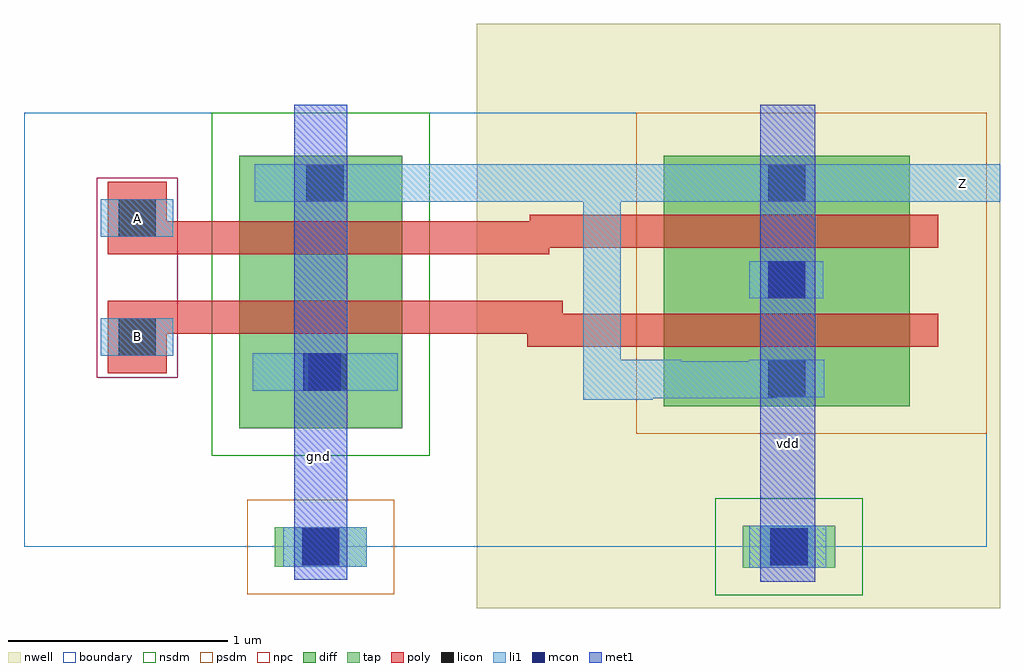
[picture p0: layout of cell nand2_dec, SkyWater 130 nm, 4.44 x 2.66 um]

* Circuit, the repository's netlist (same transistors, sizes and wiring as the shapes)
* NGSPICE file created from nand2_dec.ext - technology: EFS8A


* Top level circuit nand2_dec
.subckt nand2_dec A B Z vdd gnd

M1001 Z B vdd vdd pshort W=1.12 L=0.15
M1002 vdd A Z vdd pshort W=1.12 L=0.15
M1000 Z A a_n722_276# gnd nshort W=0.74 L=0.15
M1003 a_n722_276# B gnd gnd nshort W=0.74 L=0.15
.ends

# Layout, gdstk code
import gdstk
lib = gdstk.Library(unit=1e-6, precision=1e-09)
def R(c, l, rs):  # rectangles x0, y0, x1, y1
    for r in rs: c.add(gdstk.rectangle(r[:2], r[2:], *l))
nwell = (64, 20)
diff = (65, 20)
tap = (65, 44)
poly = (66, 20)
licon = (66, 44)
li1 = (67, 20)
mcon = (67, 44)
met1 = (68, 20)
nsdm = (93, 44)
psdm = (94, 20)
npc = (95, 20)
boundary = (235, 4)

nand2_dec = lib.new_cell('nand2_dec')
R(nand2_dec, nwell, [(2.06,-0.28,4.44,2.38)])
R(nand2_dec, diff, [(0.98,0.54,1.72,1.78), (2.91,0.64,4.03,1.78)])
R(nand2_dec, tap, [(3.27,-0.095,3.69,0.095), (1.14,-0.09,1.56,0.09)])
R(nand2_dec, poly, [(0.38,0.79,0.65,0.97), (2.29,0.91,4.16,0.97), (0.38,0.97,4.16,1.06), (0.38,1.06,2.45,1.12), (0.38,1.33,2.39,1.36), (0.38,1.36,4.16,1.48), (0.38,1.48,0.65,1.66), (2.3,1.48,4.16,1.51)])
R(nand2_dec, licon, [(1.265,-0.085,1.435,0.085), (3.395,-0.085,3.565,0.085), (3.385,0.68,3.555,0.85), (1.295,0.71,1.465,0.88), (0.43,0.87,0.6,1.04), (3.385,1.13,3.555,1.3), (0.43,1.41,0.6,1.58), (1.285,1.57,1.455,1.74), (3.385,1.57,3.555,1.74)])
R(nand2_dec, li1, [(3.3,-0.095,3.65,0.095), (1.18,-0.09,1.56,0.09), (2.545,0.67,2.86,0.675), (2.545,0.675,3.425,0.68), (2.545,0.68,3.64,0.845), (1.04,0.71,1.7,0.88), (2.545,0.845,2.99,0.85), (3.3,0.845,3.64,0.85), (2.545,0.85,2.715,1.57), (0.35,0.87,0.68,1.04), (3.3,1.13,3.635,1.3), (0.35,1.41,0.68,1.58), (1.05,1.57,4.44,1.74)])
R(nand2_dec, mcon, [(1.265,-0.085,1.435,0.085), (3.395,-0.085,3.565,0.085), (1.27,0.71,1.44,0.88), (3.385,1.13,3.555,1.3)])
R(nand2_dec, met1, [(3.35,-0.16,3.6,2.01), (1.23,-0.15,1.47,2.01)])
R(nand2_dec, nsdm, [(3.145,-0.22,3.815,0.22), (0.855,0.415,1.845,1.975)])
R(nand2_dec, psdm, [(1.015,-0.215,1.685,0.215), (2.785,0.515,4.38,1.975)])
R(nand2_dec, npc, [(0.33,0.77,0.7,1.68)])
R(nand2_dec, boundary, [(0,0,4.38,1.975)])
nand2_dec.add(gdstk.Label('B', (0.515,0.955), layer=67, texttype=20))
nand2_dec.add(gdstk.Label('A', (0.515,1.495), layer=67, texttype=20))
nand2_dec.add(gdstk.Label('Z', (4.27,1.655), layer=67, texttype=20))
nand2_dec.add(gdstk.Label('vdd', (3.48,0.47), layer=68, texttype=16))
nand2_dec.add(gdstk.Label('gnd', (1.34,0.41), layer=68, texttype=16))

lib.write_gds('nand2_dec.gds')
